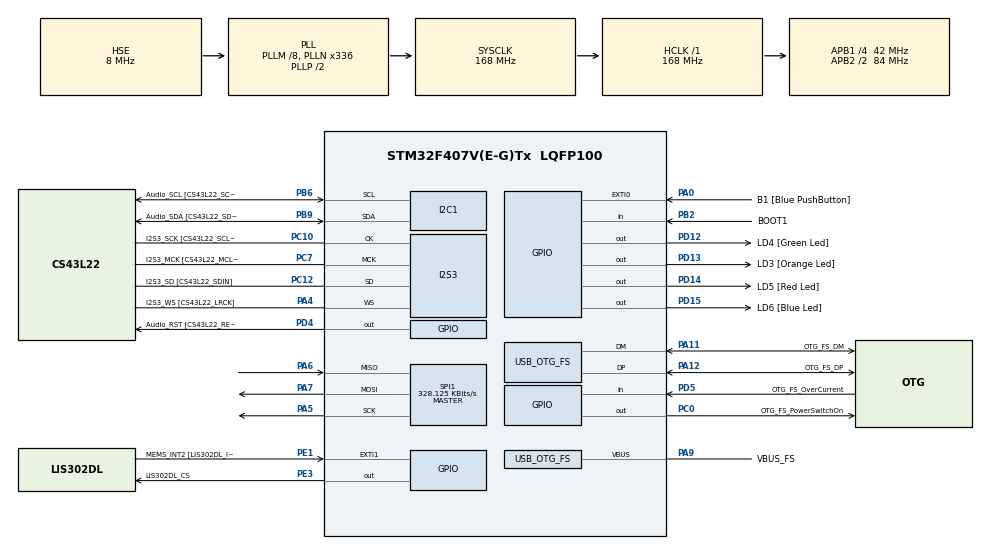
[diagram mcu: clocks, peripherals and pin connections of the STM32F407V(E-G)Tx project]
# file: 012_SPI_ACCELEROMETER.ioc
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I2S3.AudioFreq=I2S_AUDIOFREQ_96K
I2S3.AudioFreq-Half_Duplex_Master=I2S_AUDIOFREQ_96K
I2S3.ErrorAudioFreq=-2.34 %
I2S3.ErrorAudioFreq-Half_Duplex_Master=0.8 %
I2S3.FullDuplexMode=I2S_FULLDUPLEXMODE_DISABLE
I2S3.Instance=SPI$Index
I2S3.RealAudioFreq=93.75 KHz
I2S3.RealAudioFreq-Half_Duplex_Master=96.774 KHz
I2S3.VirtualMode=I2S_MODE_MASTER
Mcu.Family=STM32F4
Mcu.Name=STM32F407V(E-G)Tx
Mcu.Package=LQFP100
NVIC.OTG_FS_IRQn=true\:0\:0\:false\:false\:true\:true\:true\:true
NVIC.PriorityGroup=NVIC_PRIORITYGROUP_0
PA0-WKUP.GPIO_Label=B1 [Blue PushButton]
PA0-WKUP.GPIO_ModeDefaultEXTI=GPIO_MODE_EVT_RISING
PA0-WKUP.GPIO_PuPd=GPIO_NOPULL
PA0-WKUP.Signal=GPXTI0
PA10.GPIO_Label=OTG_FS_ID
PA10.GPIO_Mode=GPIO_MODE_AF_PP
PA10.GPIO_PuPd=GPIO_NOPULL
PA10.GPIO_Speed=GPIO_SPEED_FREQ_LOW
PA10.Signal=USB_OTG_FS_ID
PA11.GPIO_Label=OTG_FS_DM
PA11.GPIO_Mode=GPIO_MODE_AF_PP
PA11.GPIO_PuPd=GPIO_NOPULL
PA11.GPIO_Speed=GPIO_SPEED_FREQ_LOW
PA11.Mode=Host_Only
PA11.Signal=USB_OTG_FS_DM
PA12.GPIO_Label=OTG_FS_DP
PA12.GPIO_Mode=GPIO_MODE_AF_PP
PA12.GPIO_PuPd=GPIO_NOPULL
PA12.GPIO_Speed=GPIO_SPEED_FREQ_LOW
PA12.Mode=Host_Only
PA12.Signal=USB_OTG_FS_DP
PA13.GPIO_Label=SWDIO
PA13.Mode=Serial_Wire
PA13.Signal=SYS_JTMS-SWDIO
PA14.GPIO_Label=SWCLK
PA14.Mode=Serial_Wire
PA14.Signal=SYS_JTCK-SWCLK
PA4.GPIO_Label=I2S3_WS [CS43L22_LRCK]
PA4.GPIO_Mode=GPIO_MODE_AF_PP
PA4.GPIO_PuPd=GPIO_NOPULL
PA4.GPIO_Speed=GPIO_SPEED_FREQ_LOW
PA4.Mode=Half_Duplex_Master
PA4.Signal=I2S3_WS
PA5.GPIO_Speed=GPIO_SPEED_FREQ_LOW
PA5.Mode=Full_Duplex_Master
PA5.Signal=SPI1_SCK
PA6.GPIO_Speed=GPIO_SPEED_FREQ_LOW
PA6.Mode=Full_Duplex_Master
PA6.Signal=SPI1_MISO
PA7.GPIO_Speed=GPIO_SPEED_FREQ_LOW
PA7.Mode=Full_Duplex_Master
PA7.Signal=SPI1_MOSI
PA9.GPIO_Label=VBUS_FS
PA9.GPIO_Mode=GPIO_MODE_INPUT
PA9.GPIO_PuPd=GPIO_NOPULL
PA9.Mode=Activate_VBUS
PA9.Signal=USB_OTG_FS_VBUS
PB10.GPIO_Label=CLK_IN [MP45DT02_CLK]
PB10.GPIO_Mode=GPIO_MODE_AF_PP
PB10.GPIO_PuPd=GPIO_NOPULL
PB10.GPIO_Speed=GPIO_SPEED_FREQ_LOW
PB10.Signal=I2S2_CK
PB2.GPIO_Label=BOOT1
PB2.GPIO_Mode=GPIO_MODE_INPUT
PB2.GPIO_PuPd=GPIO_NOPULL
PB2.Signal=GPIO_Input
PB3.GPIO_Label=SWO
PB3.Signal=SYS_JTDO-SWO
PB6.GPIO_Label=Audio_SCL [CS43L22_SCL]
PB6.GPIO_Mode=GPIO_MODE_AF_OD
PB6.GPIO_Pu=GPIO_PULLUP
PB6.GPIO_PuPd=GPIO_NOPULL
PB6.GPIO_Speed=GPIO_SPEED_FREQ_LOW
PB6.Mode=I2C
PB6.Signal=I2C1_SCL
PB9.GPIO_Label=Audio_SDA [CS43L22_SDA]
PB9.GPIO_Mode=GPIO_MODE_AF_OD
PB9.GPIO_Pu=GPIO_PULLUP
PB9.GPIO_PuPd=GPIO_NOPULL
PB9.GPIO_Speed=GPIO_SPEED_FREQ_LOW
PB9.Mode=I2C
PB9.Signal=I2C1_SDA
PC0.GPIO_Label=OTG_FS_PowerSwitchOn
PC0.GPIO_PuPd=GPIO_NOPULL
PC0.GPIO_Speed=GPIO_SPEED_FREQ_LOW
PC0.PinState=GPIO_PIN_SET
PC0.Signal=GPIO_Output
PC10.GPIO_Label=I2S3_SCK [CS43L22_SCLK]
PC10.GPIO_Mode=GPIO_MODE_AF_PP
PC10.GPIO_PuPd=GPIO_NOPULL
PC10.GPIO_Speed=GPIO_SPEED_FREQ_LOW
PC10.Mode=Half_Duplex_Master
PC10.Signal=I2S3_CK
PC12.GPIO_Label=I2S3_SD [CS43L22_SDIN]
PC12.GPIO_Mode=GPIO_MODE_AF_PP
PC12.GPIO_PuPd=GPIO_NOPULL
PC12.GPIO_Speed=GPIO_SPEED_FREQ_LOW
PC12.Mode=Half_Duplex_Master
PC12.Signal=I2S3_SD
PC14-OSC32_IN.GPIO_Label=PC14-OSC32_IN
PC14-OSC32_IN.Mode=LSE-External-Oscillator
PC14-OSC32_IN.Signal=RCC_OSC32_IN
PC15-OSC32_OUT.GPIO_Label=PC15-OSC32_OUT
PC15-OSC32_OUT.Mode=LSE-External-Oscillator
PC15-OSC32_OUT.Signal=RCC_OSC32_OUT
PC3.GPIO_Label=PDM_OUT [MP45DT02_DOUT]
PC3.GPIO_Mode=GPIO_MODE_AF_PP
PC3.GPIO_PuPd=GPIO_NOPULL
PC3.GPIO_Speed=GPIO_SPEED_FREQ_LOW
PC3.Signal=I2S2_SD
PC7.GPIO_Label=I2S3_MCK [CS43L22_MCLK]
PC7.GPIO_Mode=GPIO_MODE_AF_PP
PC7.GPIO_PuPd=GPIO_NOPULL
PC7.GPIO_Speed=GPIO_SPEED_FREQ_LOW
PC7.Mode=Master_Clock_Activated
PC7.Signal=I2S3_MCK
PD12.GPIO_Label=LD4 [Green Led]
PD12.GPIO_PuPd=GPIO_NOPULL
PD12.GPIO_Speed=GPIO_SPEED_FREQ_LOW
PD12.Signal=GPIO_Output
PD13.GPIO_Label=LD3 [Orange Led]
PD13.GPIO_PuPd=GPIO_NOPULL
PD13.GPIO_Speed=GPIO_SPEED_FREQ_LOW
PD13.Signal=GPIO_Output
PD14.GPIO_Label=LD5 [Red Led]
PD14.GPIO_PuPd=GPIO_NOPULL
PD14.GPIO_Speed=GPIO_SPEED_FREQ_LOW
PD14.Signal=GPIO_Output
PD15.GPIO_Label=LD6 [Blue Led]
PD15.GPIO_PuPd=GPIO_NOPULL
PD15.GPIO_Speed=GPIO_SPEED_FREQ_LOW
PD15.Signal=GPIO_Output
PD4.GPIO_Label=Audio_RST [CS43L22_RESET]
PD4.GPIO_PuPd=GPIO_NOPULL
PD4.GPIO_Speed=GPIO_SPEED_FREQ_LOW
PD4.Signal=GPIO_Output
PD5.GPIO_Label=OTG_FS_OverCurrent
PD5.GPIO_Mode=GPIO_MODE_INPUT
PD5.GPIO_PuPd=GPIO_NOPULL
PD5.Signal=GPIO_Input
PE1.GPIO_Label=MEMS_INT2 [LIS302DL_INT2]
PE1.GPIO_ModeDefaultEXTI=GPIO_MODE_EVT_RISING
PE1.GPIO_PuPd=GPIO_NOPULL
PE1.Signal=GPXTI1
PE3.GPIO_Label=LIS302DL_CS
PE3.GPIO_PuPd=GPIO_NOPULL
PE3.GPIO_Speed=GPIO_SPEED_FREQ_LOW
PE3.Signal=GPIO_Output
PH0-OSC_IN.GPIO_Label=PH0-OSC_IN
PH0-OSC_IN.Mode=HSE-External-Oscillator
PH0-OSC_IN.Signal=RCC_OSC_IN
PH1-OSC_OUT.GPIO_Label=PH1-OSC_OUT
PH1-OSC_OUT.Mode=HSE-External-Oscillator
PH1-OSC_OUT.Signal=RCC_OSC_OUT
ProjectManager.HeapSize=0x200
ProjectManager.StackSize=0x400
ProjectManager.TargetToolchain=STM32CubeIDE
RCC.48MHZClocksFreq_Value=48000000
RCC.AHBFreq_Value=168000000
RCC.APB1CLKDivider=RCC_HCLK_DIV4
RCC.APB1Freq_Value=42000000
RCC.APB1TimFreq_Value=84000000
RCC.APB2CLKDivider=RCC_HCLK_DIV2
RCC.APB2Freq_Value=84000000
RCC.APB2TimFreq_Value=168000000
RCC.CortexFreq_Value=168000000
RCC.HCLKFreq_Value=168000000
RCC.HSE_VALUE=8000000
RCC.HSI_VALUE=16000000
RCC.PLLM=8
RCC.PLLN=336
RCC.PLLQ=7
RCC.SYSCLKFreq_VALUE=168000000
RCC.SYSCLKSource=RCC_SYSCLKSOURCE_PLLCLK
RCC.VCOOutputFreq_Value=336000000
SPI1.BaudRatePrescaler=SPI_BAUDRATEPRESCALER_256
SPI1.CalculateBaudRate=328.125 KBits/s
SPI1.Direction=SPI_DIRECTION_2LINES
SPI1.Mode=SPI_MODE_MASTER
SPI1.VirtualType=VM_MASTER
USB_HOST.BSP.number=1
USB_HOST.USBH_HandleTypeDef-CDC_FS=hUsbHostFS
USB_HOST.VirtualModeFS=Cdc
USB_HOST0.BSP.STBoard=false
USB_HOST0.BSP.api=Unknown
USB_HOST0.BSP.instance=PC0
USB_HOST0.BSP.ip=GPIO
USB_HOST0.BSP.mode=Output
USB_HOST0.BSP.name=Drive_VBUS_FS
USB_HOST0.BSP.solution=PC0
USB_OTG_FS.VirtualMode=Host_Only
USB_OTG_FS.phy_itface=HCD_PHY_EMBEDDED
VP_USB_HOST_VS_USB_HOST_CDC_FS.Mode=CDC_FS
board=STM32F407G-DISC1

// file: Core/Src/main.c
/* USER CODE BEGIN Header */
/**
  ******************************************************************************
  * @file           : main.c
  * @brief          : Main program body
  ******************************************************************************
  * @attention
  *
  * Copyright (c) 2023 STMicroelectronics.
  * All rights reserved.
  *
  * This software is licensed under terms that can be found in the LICENSE file
  * in the root directory of this software component.
  * If no LICENSE file comes with this software, it is provided AS-IS.
  *
  ******************************************************************************
  */
/* USER CODE END Header */
#include "main.h"
#include "usb_host.h"

/* USER CODE BEGIN Includes */
#include "stdbool.h"

/* USER CODE END Includes */

/* USER CODE BEGIN PD */

#define SPI_READ 				0x80
#define SPI_READ_MULTIPLE		0xC0
#define SPI_WRITE				0x00

#define OUT_X					0x29

/* USER CODE END PD */

I2C_HandleTypeDef hi2c1;

I2S_HandleTypeDef hi2s3;

SPI_HandleTypeDef hspi1;

void SystemClock_Config(void);
static void MX_GPIO_Init(void);
static void MX_I2C1_Init(void);
static void MX_I2S3_Init(void);
static void MX_SPI1_Init(void);
void MX_USB_HOST_Process(void);

/* USER CODE BEGIN PFP */
bool LIS302DL_get_accelerations();

/* USER CODE END PFP */

int main(void)
{

  /* MCU Configuration--------------------------------------------------------*/

  /* Reset of all peripherals, Initializes the Flash interface and the Systick. */
  HAL_Init();

  /* Configure the system clock */
  SystemClock_Config();

  /* Initialize all configured peripherals */
  MX_GPIO_Init();
  MX_I2C1_Init();
  MX_I2S3_Init();
  MX_SPI1_Init();
  MX_USB_HOST_Init();
  /* USER CODE BEGIN 2 */

  LIS302DL_setup();

  /* USER CODE END 2 */

  /* Infinite loop */
  /* USER CODE BEGIN WHILE */
  while (1)
  {
	  LIS302DL_get_accelerations();

    /* USER CODE END WHILE */
    MX_USB_HOST_Process();

  }
}

void SystemClock_Config(void)
{
  RCC_OscInitTypeDef RCC_OscInitStruct = {0};
  RCC_ClkInitTypeDef RCC_ClkInitStruct = {0};

  /** Configure the main internal regulator output voltage
  */
  __HAL_RCC_PWR_CLK_ENABLE();
  __HAL_PWR_VOLTAGESCALING_CONFIG(PWR_REGULATOR_VOLTAGE_SCALE1);

  /** Initializes the RCC Oscillators according to the specified parameters
  * in the RCC_OscInitTypeDef structure.
  */
  RCC_OscInitStruct.OscillatorType = RCC_OSCILLATORTYPE_HSE;
  RCC_OscInitStruct.HSEState = RCC_HSE_ON;
  RCC_OscInitStruct.PLL.PLLState = RCC_PLL_ON;
  RCC_OscInitStruct.PLL.PLLSource = RCC_PLLSOURCE_HSE;
  RCC_OscInitStruct.PLL.PLLM = 8;
  RCC_OscInitStruct.PLL.PLLN = 336;
  RCC_OscInitStruct.PLL.PLLP = RCC_PLLP_DIV2;
  RCC_OscInitStruct.PLL.PLLQ = 7;
  if (HAL_RCC_OscConfig(&RCC_OscInitStruct) != HAL_OK)
  {
    Error_Handler();
  }

  /** Initializes the CPU, AHB and APB buses clocks
  */
  RCC_ClkInitStruct.ClockType = RCC_CLOCKTYPE_HCLK|RCC_CLOCKTYPE_SYSCLK
                              |RCC_CLOCKTYPE_PCLK1|RCC_CLOCKTYPE_PCLK2;
  RCC_ClkInitStruct.SYSCLKSource = RCC_SYSCLKSOURCE_PLLCLK;
  RCC_ClkInitStruct.AHBCLKDivider = RCC_SYSCLK_DIV1;
  RCC_ClkInitStruct.APB1CLKDivider = RCC_HCLK_DIV4;
  RCC_ClkInitStruct.APB2CLKDivider = RCC_HCLK_DIV2;

  if (HAL_RCC_ClockConfig(&RCC_ClkInitStruct, FLASH_LATENCY_5) != HAL_OK)
  {
    Error_Handler();
  }
}

static void MX_I2C1_Init(void)
{

  hi2c1.Instance = I2C1;
  hi2c1.Init.ClockSpeed = 100000;
  hi2c1.Init.DutyCycle = I2C_DUTYCYCLE_2;
  hi2c1.Init.OwnAddress1 = 0;
  hi2c1.Init.AddressingMode = I2C_ADDRESSINGMODE_7BIT;
  hi2c1.Init.DualAddressMode = I2C_DUALADDRESS_DISABLE;
  hi2c1.Init.OwnAddress2 = 0;
  hi2c1.Init.GeneralCallMode = I2C_GENERALCALL_DISABLE;
  hi2c1.Init.NoStretchMode = I2C_NOSTRETCH_DISABLE;
  if (HAL_I2C_Init(&hi2c1) != HAL_OK)
  {
    Error_Handler();
  }

}

static void MX_I2S3_Init(void)
{

  hi2s3.Instance = SPI3;
  hi2s3.Init.Mode = I2S_MODE_MASTER_TX;
  hi2s3.Init.Standard = I2S_STANDARD_PHILIPS;
  hi2s3.Init.DataFormat = I2S_DATAFORMAT_16B;
  hi2s3.Init.MCLKOutput = I2S_MCLKOUTPUT_ENABLE;
  hi2s3.Init.AudioFreq = I2S_AUDIOFREQ_96K;
  hi2s3.Init.CPOL = I2S_CPOL_LOW;
  hi2s3.Init.ClockSource = I2S_CLOCK_PLL;
  hi2s3.Init.FullDuplexMode = I2S_FULLDUPLEXMODE_DISABLE;
  if (HAL_I2S_Init(&hi2s3) != HAL_OK)
  {
    Error_Handler();
  }

}

static void MX_SPI1_Init(void)
{

  /* SPI1 parameter configuration*/
  hspi1.Instance = SPI1;
  hspi1.Init.Mode = SPI_MODE_MASTER;
  hspi1.Init.Direction = SPI_DIRECTION_2LINES;
  hspi1.Init.DataSize = SPI_DATASIZE_8BIT;
  hspi1.Init.CLKPolarity = SPI_POLARITY_LOW;
  hspi1.Init.CLKPhase = SPI_PHASE_1EDGE;
  hspi1.Init.NSS = SPI_NSS_SOFT;
  hspi1.Init.BaudRatePrescaler = SPI_BAUDRATEPRESCALER_256;
  hspi1.Init.FirstBit = SPI_FIRSTBIT_MSB;
  hspi1.Init.TIMode = SPI_TIMODE_DISABLE;
  hspi1.Init.CRCCalculation = SPI_CRCCALCULATION_DISABLE;
  hspi1.Init.CRCPolynomial = 10;
  if (HAL_SPI_Init(&hspi1) != HAL_OK)
  {
    Error_Handler();
  }

}

static void MX_GPIO_Init(void)
{
  GPIO_InitTypeDef GPIO_InitStruct = {0};

  /* GPIO Ports Clock Enable */
  __HAL_RCC_GPIOE_CLK_ENABLE();
  __HAL_RCC_GPIOC_CLK_ENABLE();
  __HAL_RCC_GPIOH_CLK_ENABLE();
  __HAL_RCC_GPIOA_CLK_ENABLE();
  __HAL_RCC_GPIOB_CLK_ENABLE();
  __HAL_RCC_GPIOD_CLK_ENABLE();

  /*Configure GPIO pin Output Level */
  HAL_GPIO_WritePin(LIS302DL_CS_GPIO_Port, LIS302DL_CS_Pin, GPIO_PIN_RESET);

  /*Configure GPIO pin Output Level */
  HAL_GPIO_WritePin(OTG_FS_PowerSwitchOn_GPIO_Port, OTG_FS_PowerSwitchOn_Pin, GPIO_PIN_SET);

  /*Configure GPIO pin Output Level */
  HAL_GPIO_WritePin(GPIOD, LD4_Pin|LD3_Pin|LD5_Pin|LD6_Pin
                          |Audio_RST_Pin, GPIO_PIN_RESET);

  /*Configure GPIO pin : LIS302DL_CS_Pin */
  GPIO_InitStruct.Pin = LIS302DL_CS_Pin;
  GPIO_InitStruct.Mode = GPIO_MODE_OUTPUT_PP;
  GPIO_InitStruct.Pull = GPIO_NOPULL;
  GPIO_InitStruct.Speed = GPIO_SPEED_FREQ_LOW;
  HAL_GPIO_Init(LIS302DL_CS_GPIO_Port, &GPIO_InitStruct);

  /*Configure GPIO pin : OTG_FS_PowerSwitchOn_Pin */
  GPIO_InitStruct.Pin = OTG_FS_PowerSwitchOn_Pin;
  GPIO_InitStruct.Mode = GPIO_MODE_OUTPUT_PP;
  GPIO_InitStruct.Pull = GPIO_NOPULL;
  GPIO_InitStruct.Speed = GPIO_SPEED_FREQ_LOW;
  HAL_GPIO_Init(OTG_FS_PowerSwitchOn_GPIO_Port, &GPIO_InitStruct);

  /*Configure GPIO pin : PDM_OUT_Pin */
  GPIO_InitStruct.Pin = PDM_OUT_Pin;
  GPIO_InitStruct.Mode = GPIO_MODE_AF_PP;
  GPIO_InitStruct.Pull = GPIO_NOPULL;
  GPIO_InitStruct.Speed = GPIO_SPEED_FREQ_LOW;
  GPIO_InitStruct.Alternate = GPIO_AF5_SPI2;
  HAL_GPIO_Init(PDM_OUT_GPIO_Port, &GPIO_InitStruct);

  /*Configure GPIO pin : B1_Pin */
  GPIO_InitStruct.Pin = B1_Pin;
  GPIO_InitStruct.Mode = GPIO_MODE_EVT_RISING;
  GPIO_InitStruct.Pull = GPIO_NOPULL;
  HAL_GPIO_Init(B1_GPIO_Port, &GPIO_InitStruct);

  /*Configure GPIO pin : BOOT1_Pin */
  GPIO_InitStruct.Pin = BOOT1_Pin;
  GPIO_InitStruct.Mode = GPIO_MODE_INPUT;
  GPIO_InitStruct.Pull = GPIO_NOPULL;
  HAL_GPIO_Init(BOOT1_GPIO_Port, &GPIO_InitStruct);

  /*Configure GPIO pin : CLK_IN_Pin */
  GPIO_InitStruct.Pin = CLK_IN_Pin;
  GPIO_InitStruct.Mode = GPIO_MODE_AF_PP;
  GPIO_InitStruct.Pull = GPIO_NOPULL;
  GPIO_InitStruct.Speed = GPIO_SPEED_FREQ_LOW;
  GPIO_InitStruct.Alternate = GPIO_AF5_SPI2;
  HAL_GPIO_Init(CLK_IN_GPIO_Port, &GPIO_InitStruct);

  /*Configure GPIO pins : LD4_Pin LD3_Pin LD5_Pin LD6_Pin
                           Audio_RST_Pin */
  GPIO_InitStruct.Pin = LD4_Pin|LD3_Pin|LD5_Pin|LD6_Pin
                          |Audio_RST_Pin;
  GPIO_InitStruct.Mode = GPIO_MODE_OUTPUT_PP;
  GPIO_InitStruct.Pull = GPIO_NOPULL;
  GPIO_InitStruct.Speed = GPIO_SPEED_FREQ_LOW;
  HAL_GPIO_Init(GPIOD, &GPIO_InitStruct);

  /*Configure GPIO pin : OTG_FS_OverCurrent_Pin */
  GPIO_InitStruct.Pin = OTG_FS_OverCurrent_Pin;
  GPIO_InitStruct.Mode = GPIO_MODE_INPUT;
  GPIO_InitStruct.Pull = GPIO_NOPULL;
  HAL_GPIO_Init(OTG_FS_OverCurrent_GPIO_Port, &GPIO_InitStruct);

  /*Configure GPIO pin : MEMS_INT2_Pin */
  GPIO_InitStruct.Pin = MEMS_INT2_Pin;
  GPIO_InitStruct.Mode = GPIO_MODE_EVT_RISING;
  GPIO_InitStruct.Pull = GPIO_NOPULL;
  HAL_GPIO_Init(MEMS_INT2_GPIO_Port, &GPIO_InitStruct);

}

/* USER CODE BEGIN 4 */

void LIS302DL_setup()
{
	// reset CS pin to high
	HAL_GPIO_WritePin(LIS302DL_CS_GPIO_Port, LIS302DL_CS_Pin, GPIO_PIN_SET);

	// set tx buffer
	uint8_t addr = 0x20;
	uint8_t tx_buff[3];
	uint8_t rx_buff[3];

	tx_buff[0] = SPI_WRITE; 	// SPI write
	tx_buff[1] = addr;			// address of control register
	tx_buff[2] = 0b01000111;

	HAL_GPIO_WritePin(LIS302DL_CS_GPIO_Port, LIS302DL_CS_Pin, GPIO_PIN_RESET);
	HAL_SPI_Transmit(&hspi1, tx_buff, 3, 100);
	HAL_GPIO_WritePin(LIS302DL_CS_GPIO_Port, LIS302DL_CS_Pin, GPIO_PIN_SET);

	addr = 0x0F;
	tx_buff[0] = SPI_READ;
	tx_buff[1] = addr;

	HAL_GPIO_WritePin(LIS302DL_CS_GPIO_Port, LIS302DL_CS_Pin, GPIO_PIN_RESET);
	HAL_SPI_Transmit(&hspi1, tx_buff, 2, 100);
	HAL_GPIO_WritePin(LIS302DL_CS_GPIO_Port, LIS302DL_CS_Pin, GPIO_PIN_SET);
	HAL_GPIO_WritePin(LIS302DL_CS_GPIO_Port, LIS302DL_CS_Pin, GPIO_PIN_RESET);
	HAL_SPI_Receive(&hspi1, rx_buff, 1, 100);
	HAL_GPIO_WritePin(LIS302DL_CS_GPIO_Port, LIS302DL_CS_Pin, GPIO_PIN_SET);
	HAL_Delay(1);
	return;
}

bool LIS302DL_get_accelerations()
{
	uint8_t addr = OUT_X;

	// reset CS pin to high
	HAL_GPIO_WritePin(LIS302DL_CS_GPIO_Port, LIS302DL_CS_Pin, GPIO_PIN_SET);

	// create buffers for getting the msg
	uint8_t tx_buffer[2];
	uint8_t rx_buffer[6] = {0};

	tx_buffer[0] = SPI_READ;
	tx_buffer[1] = addr;

	// pull CS low to start reading
	HAL_GPIO_WritePin(LIS302DL_CS_GPIO_Port, LIS302DL_CS_Pin, GPIO_PIN_RESET);
	// start transmit receive to get data
	HAL_SPI_TransmitReceive(&hspi1, tx_buffer, rx_buffer, 6, 100);
	// pull CS high to stop transmission
	HAL_GPIO_WritePin(LIS302DL_CS_GPIO_Port, LIS302DL_CS_Pin, GPIO_PIN_RESET);

	// since the sensor is configured to be MSB first:
	int16_t x_acceleration = ((int16_t)rx_buffer[0] << 8) | rx_buffer[1];
	int16_t y_acceleration = ((int16_t)rx_buffer[2] << 8) | rx_buffer[3];
	int16_t z_acceleration = ((int16_t)rx_buffer[4] << 8) | rx_buffer[5];

	return true;
}

/* USER CODE END 4 */

void Error_Handler(void)
{
  __disable_irq();
  while (1)
  {
  }
}
